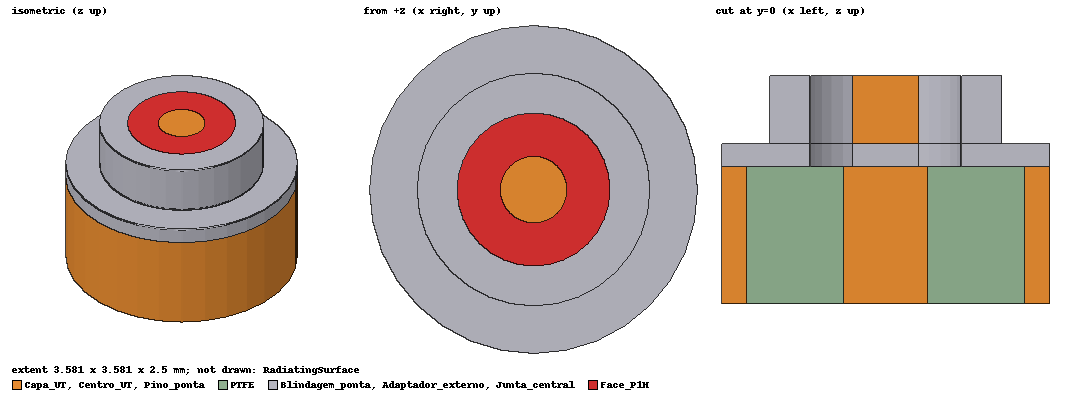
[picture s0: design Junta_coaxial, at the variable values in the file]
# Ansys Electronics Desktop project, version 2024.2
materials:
  vacuum: permittivity=1
  SAC305: conductivity=7575758
  PTFE_UT141: permittivity=2.036 dielectric_loss_tangent=0.0002
  copper: permeability=0.999991 conductivity=58000000
  aluminum: permeability=1.000021 conductivity=38000000

design Junta_coaxial (HFSS, HFSS Hybrid Modal Network, model units mm)
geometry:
  Capa_UT [copper] = cylinder(axis=Z, base_centre=(0mm, 0mm, -1.5mm), radius=1.7905mm, height=1.5mm, segments=32)
  PTFE [PTFE_UT141] = cylinder(axis=Z, base_centre=(0mm, 0mm, -1.5mm), radius=1.515mm, height=1.5mm, segments=32)
  PTFE_1 = PTFE.copy()
  Capa_UT.subtract(PTFE_1)
  Centro_UT [copper] = cylinder(axis=Z, base_centre=(0mm, 0mm, -1.5mm), radius=0.45975mm, height=1.5mm, segments=32)
  Centro_UT_1 = Centro_UT.copy()
  PTFE.subtract(Centro_UT_1)
  Adaptador_externo [SAC305] = cylinder(axis=Z, base_centre=(0mm, 0mm, 0mm), radius=1.7905mm, height=0.25mm, segments=32)
  vazio = cylinder(axis=Z, base_centre=(0mm, 0mm, 0mm), radius=0.834856mm, height=0.25mm, segments=32)
  Adaptador_externo.subtract(vazio)
  Junta_central [SAC305] = cylinder(axis=Z, base_centre=(0mm, 0mm, 0mm), radius=0.362981mm, height=0.25mm, segments=32)
  Blindagem_ponta [aluminum] = cylinder(axis=Z, base_centre=(0mm, 0mm, 0.25mm), radius=1.2704335mm, height=0.75mm, segments=32)
  vazio_ponta = cylinder(axis=Z, base_centre=(0mm, 0mm, 0.25mm), radius=0.834856mm, height=0.75mm, segments=32)
  Blindagem_ponta.subtract(vazio_ponta)
  Pino_ponta [copper] = cylinder(axis=Z, base_centre=(0mm, 0mm, 0.25mm), radius=0.362981mm, height=0.75mm, segments=32)
  Face_CABO = circle(normal=Z, centre=(0mm, 0mm, -1.5mm), radius=1.515mm, segments=32)
  hole_CABO = circle(normal=Z, centre=(0mm, 0mm, -1.5mm), radius=0.45975mm, segments=32)
  Face_CABO.subtract(hole_CABO)
  Face_P1H = circle(normal=Z, centre=(0mm, 0mm, 1mm), radius=0.834856mm, segments=32)
  hole_P1H = circle(normal=Z, centre=(0mm, 0mm, 1mm), radius=0.362981mm, segments=32)
  Face_P1H.subtract(hole_P1H)
  RadiatingSurface [vacuum] = region(absolute_offset=19.34236mm on all sides)
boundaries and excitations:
  Open1: Radiation Objects=RadiatingSurface
  CABO: Lumped Port Objects=Face_CABO LumpedPortType=Modal Modes{Mode1{IntLine{(0.45975, 0, -1.5) -> (1.515, 0, -1.5)} CharImp=Zpi RenormImp=50ohm}} Impedance=50ohm
  P1H: Lumped Port Objects=Face_P1H LumpedPortType=Modal Modes{Mode1{IntLine{(0.362981, 0, 1) -> (0.834856, 0, 1)} CharImp=Zpi RenormImp=50ohm}} Impedance=50ohm
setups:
  Junta: HfssDriven Frequency=5.17GHz MaxDeltaS=0.008 MaximumPasses=12 MinimumPasses=2 MinimumConvergedPasses=1 PercentRefinement=30 BasisOrder=1 PortAccuracy=2 DrivenSolverType="Direct Solver"
    sweep Banda: 5090MHz to 5250MHz step 10MHz; Type=Discrete
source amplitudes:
  CABO:1: 1W 0deg
  P1H:1: 0W 0deg
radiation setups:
  3D: Infinite Sphere Theta=0deg..180deg step 2deg Phi=-180deg..180deg step 2deg
  Elevation: Infinite Sphere Theta=-180deg..180deg step 1deg Phi=0deg..90deg step 90deg
  Azimuth: Infinite Sphere Theta=90deg..90deg step 0deg Phi=-180deg..180deg step 1deg
